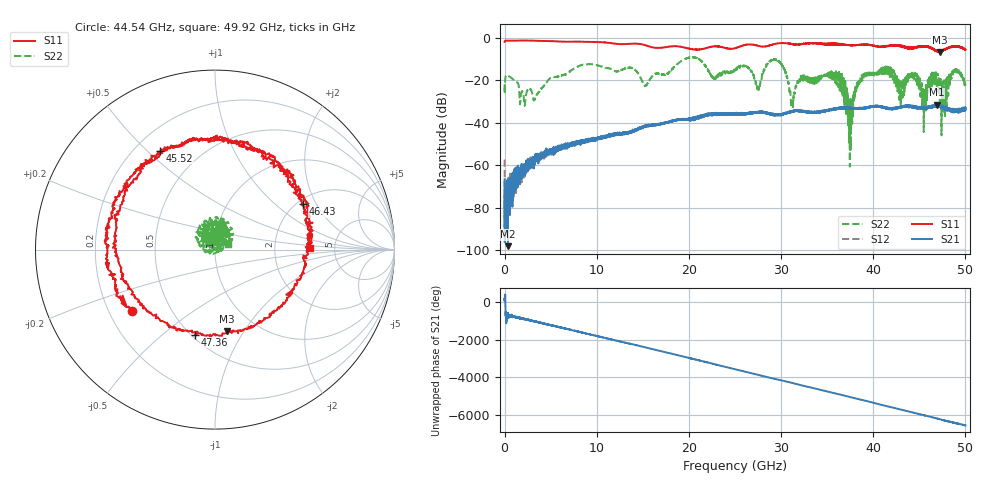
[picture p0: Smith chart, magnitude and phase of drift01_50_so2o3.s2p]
!Created with skrf (http://scikit-rf.org).
# Hz S RI R 50.0
!freq ReS11 ImS11 ReS21 ImS21 ReS12 ImS12 ReS22 ImS22
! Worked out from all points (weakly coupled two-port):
!   10001 points, 300 kHz to 50 GHz, reference 50 ohm
!   highest |S21| = -31.52 dB at 46.88 GHz (marker M1); lowest = -98.1 dB at 365.3 MHz (marker M2)
!   lowest |S11| = -6.8 dB at 47.21 GHz (marker M3), VSWR 2.69, Z = 36.7 - j42.1 ohm
!   |S11| at or under -10 dB: nowhere
!   |S22| runs from -60.7 to -9.2 dB; largest |S21 - S12| = 0.0038
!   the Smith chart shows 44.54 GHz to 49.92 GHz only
!   S11 on the Smith chart (normalised r, x): 44.54 GHz: 0.30, -0.30; 45.52 GHz: 0.30, +0.55; 46.43 GHz: 2.15, +1.56; 47.36 GHz: 0.52, -0.65; 49.92 GHz: 3.27, +0.06
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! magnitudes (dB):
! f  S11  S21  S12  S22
! 300 kHz  -2.1  -66.6  -57.4  -21.9
! 365.3 MHz  -1.4  -98.1  -69.9  -17.9
! 3.28 GHz  -1.5  -57.3  -58.8  -29.1
! 8.335 GHz  -2.0  -48.9  -48.7  -12.9
! 16.67 GHz  -4.9  -40.6  -40.7  -16.6
! 25 GHz  -5.0  -35.8  -36.1  -15.5
! 27.5 GHz  -3.8  -35.2  -34.9  -22.7
! 29.62 GHz  -2.7  -36.5  -36.2  -10.7
! 31.24 GHz  -3.0  -34.8  -34.7  -31.1
! 33.34 GHz  -2.6  -35.2  -35.1  -19.7
! 36.22 GHz  -3.1  -33.3  -33.5  -20.7
! 37.53 GHz  -3.5  -33.0  -33.3  -46.5
! 38.64 GHz  -3.4  -33.3  -33.6  -20.3
! 41.67 GHz  -3.9  -33.4  -33.3  -15.5
! 44.54 GHz  -4.8  -32.8  -32.8  -16.7
! 45.52 GHz  -4.0  -33.1  -32.9  -30.3
! 46.43 GHz  -5.2  -31.9  -32.2  -16.5
! 46.88 GHz  -6.6  -31.5  -32.0  -22.6
! 47.21 GHz  -6.8  -32.0  -32.7  -27.1
! 47.36 GHz  -6.3  -32.9  -32.5  -23.5
! 49.92 GHz  -5.5  -33.1  -33.6  -21.9
! 50 GHz  -5.6  -32.9  -33.7  -22.1
